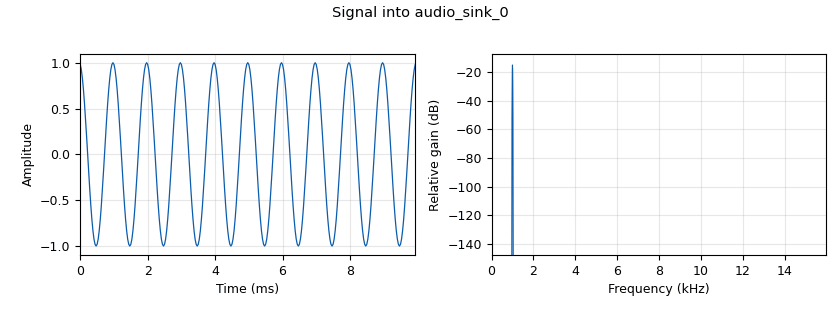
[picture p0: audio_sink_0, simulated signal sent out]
options:
  parameters:
    author: J1a_5
    generate_options: qt_gui
    id: practica3
    output_language: python
    title: practica3
  states: {}

blocks:
- name: amplitud
  id: variable_qtgui_range
  parameters:
    start: '0'
    step: '0.1'
    stop: '1'
    value: '1'
  states: {}
- name: freq
  id: variable_qtgui_range
  parameters:
    start: '0'
    step: '100'
    stop: 1e6
    value: '1000'
  states: {}
- name: samp_rate
  id: variable
  parameters:
    value: '32000'
  states: {}
- name: analog_sig_source_x_0
  id: analog_sig_source_x
  parameters:
    amp: '1'
    freq: freq
    offset: '0'
    phase: '0'
    samp_rate: samp_rate
    type: float
    waveform: analog.GR_COS_WAVE
  states: {}
- name: analog_sig_source_x_0_0
  id: analog_sig_source_x
  parameters:
    amp: amplitud
    freq: '1000'
    offset: '0'
    phase: '0'
    samp_rate: samp_rate
    type: float
    waveform: analog.GR_COS_WAVE
  states: {}
- name: audio_sink_0
  id: audio_sink
  parameters:
    samp_rate: samp_rate
  states: {}
- name: blocks_selector_0
  id: blocks_selector
  parameters:
    enabled: 'True'
    input_index: '0'
    num_inputs: '2'
    num_outputs: '1'
    output_index: '0'
    type: float
  states: {}

connections:
- [analog_sig_source_x_0, '0', blocks_selector_0, '0']
- [analog_sig_source_x_0_0, '0', blocks_selector_0, '1']
- [blocks_selector_0, '0', audio_sink_0, '0']

metadata:
  file_format: 1
